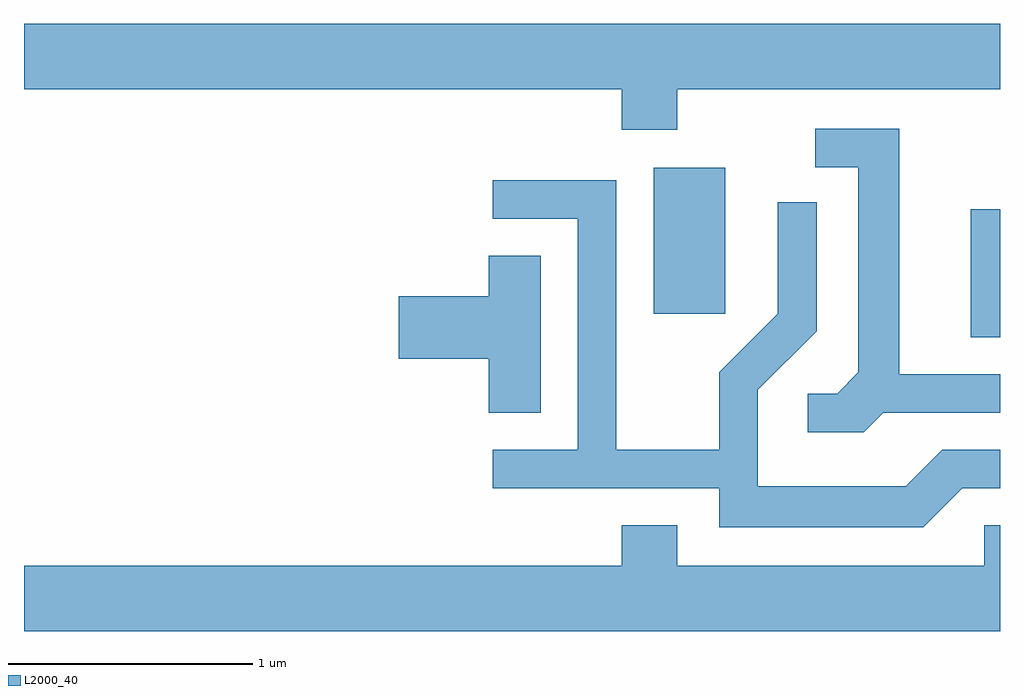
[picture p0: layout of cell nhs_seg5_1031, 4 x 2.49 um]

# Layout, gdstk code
import gdstk
lib = gdstk.Library(unit=1e-6, precision=1e-09)
def R(c, l, rs):  # rectangles x0, y0, x1, y1
    for r in rs: c.add(gdstk.rectangle(r[:2], r[2:], *l))
def P(c, l, *ps):  # polygons
    for p in ps: c.add(gdstk.Polygon(p, *l))
L2000_40 = (2000, 40)

nhs_seg5_1031 = lib.new_cell('nhs_seg5_1031')
R(nhs_seg5_1031, L2000_40, [(219.491,1435.801,219.611,1436.324), (218.191,1435.896,218.484,1436.494)])
P(nhs_seg5_1031, L2000_40, [(218.289,1436.816),(219.611,1436.816),(219.611,1437.084),(215.611,1437.084),(215.611,1436.816),(218.061,1436.816),(218.061,1436.651),(218.289,1436.651)],
  [(219.132,1435.491),(219.611,1435.491),(219.611,1435.649),(219.199,1435.649),(219.199,1436.654),(218.853,1436.654),(218.853,1436.496),(219.031,1436.496),(219.031,1435.657),(218.944,1435.569),(218.823,1435.569),(218.823,1435.411),(219.052,1435.411)],
  [(219.457,1435.181),(219.611,1435.181),(219.611,1435.339),(219.374,1435.339),(219.224,1435.189),(218.619,1435.189),(218.619,1435.584),(218.859,1435.824),(218.859,1436.353),(218.701,1436.353),(218.701,1435.897),(218.461,1435.657),(218.461,1435.339),(218.039,1435.339),(218.039,1436.444),(217.533,1436.444),(217.533,1436.286),(217.881,1436.286),(217.881,1435.339),(217.533,1435.339),(217.533,1435.181),(218.461,1435.181),(218.461,1435.021),(219.297,1435.021)],
  [(217.729,1436.134),(217.516,1436.134),(217.516,1435.969),(217.146,1435.969),(217.146,1435.711),(217.516,1435.711),(217.516,1435.491),(217.729,1435.491)],
  [(219.611,1435.029),(219.546,1435.029),(219.546,1434.864),(218.289,1434.864),(218.289,1435.029),(218.061,1435.029),(218.061,1434.864),(215.611,1434.864),(215.611,1434.596),(219.611,1434.596)])

lib.write_gds('nhs_seg5_1031.gds')
